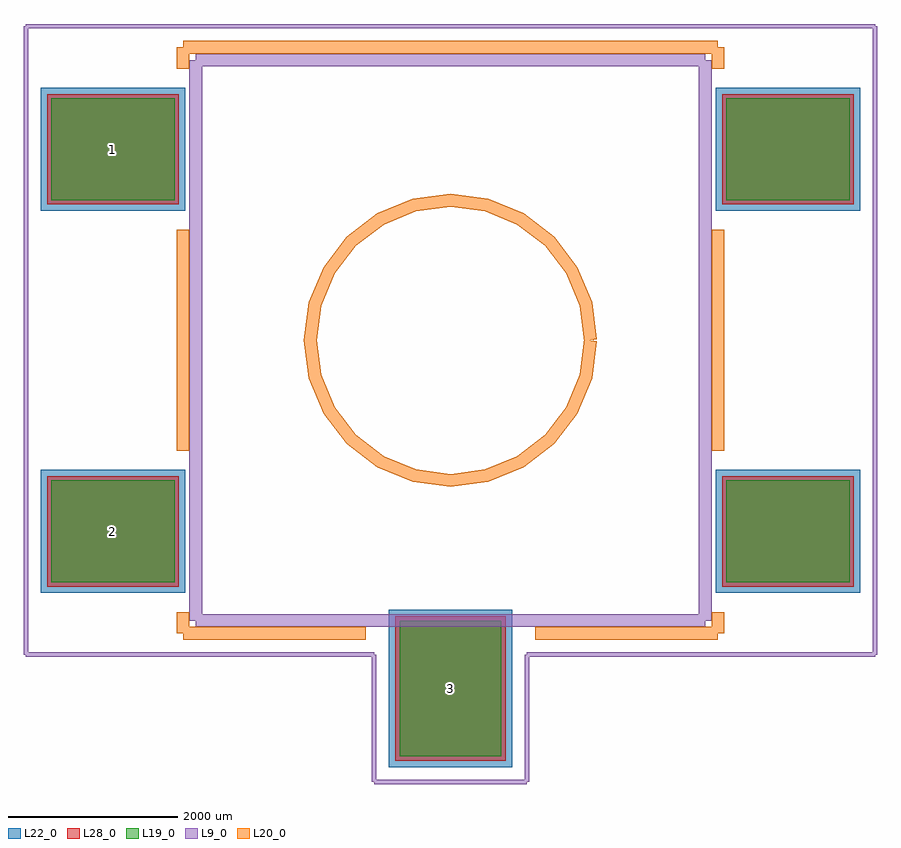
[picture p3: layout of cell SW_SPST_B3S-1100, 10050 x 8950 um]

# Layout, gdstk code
import gdstk
lib = gdstk.Library(unit=1e-6, precision=1e-09)
def R(c, l, rs):  # rectangles x0, y0, x1, y1
    for r in rs: c.add(gdstk.rectangle(r[:2], r[2:], *l))
L9_0 = (9, 0)
L19_0 = (19, 0)
L20_0 = (20, 0)
L22_0 = (22, 0)
L28_0 = (28, 0)

sw_spst_b3s_1100 = lib.new_cell('SW_SPST_B3S-1100')
R(sw_spst_b3s_1100, L19_0, [(-600,-4900,600,-3300), (-4700,-2850,-3250,-1650), (3250,-2850,4700,-1650), (-4700,1650,-3250,2850), (3250,1650,4700,2850)])
R(sw_spst_b3s_1100, L22_0, [(-725,-5025,725,-3175), (-4825,-2975,-3125,-1525), (3125,-2975,4825,-1525), (-4825,1525,-3125,2975), (3125,1525,4825,2975)])
R(sw_spst_b3s_1100, L28_0, [(-650,-4950,650,-3250), (-4750,-2900,-3200,-1600), (3200,-2900,4750,-1600), (-4750,1600,-3200,2900), (3200,1600,4750,2900)])
sw_spst_b3s_1100.add(gdstk.FlexPath([(-3000,-3300),(-3000,3300)], 149.998, ends="flush", simple_path=True, layer=9, datatype=0))  # L9_0
sw_spst_b3s_1100.add(gdstk.FlexPath([(3000,-3300),(-3000,-3300)], 149.998, ends="flush", simple_path=True, layer=9, datatype=0))  # L9_0
sw_spst_b3s_1100.add(gdstk.FlexPath([(3000,3300),(3000,-3300)], 149.998, ends="flush", simple_path=True, layer=9, datatype=0))  # L9_0
sw_spst_b3s_1100.add(gdstk.FlexPath([(-3000,3300),(3000,3300)], 149.998, ends="flush", simple_path=True, layer=9, datatype=0))  # L9_0
sw_spst_b3s_1100.add(gdstk.FlexPath([(1650,0),(1593.778,427.051),(1428.942,825),(1166.726,1166.726),(825,1428.942),(427.051,1593.778),(0,1650),(-427.051,1593.778),(-825,1428.942),(-1166.726,1166.726),(-1428.942,825),(-1593.778,427.051),(-1650,0),(-1593.778,-427.051),(-1428.942,-825),(-1166.726,-1166.726),(-825,-1428.942),(-427.051,-1593.778),(0,-1650),(427.051,-1593.778),(825,-1428.942),(1166.726,-1166.726),(1428.942,-825),(1593.778,-427.051),(1650,0)], 149.998, ends="flush", simple_path=True, layer=20, datatype=0))  # L20_0
sw_spst_b3s_1100.add(gdstk.FlexPath([(3150,1300),(3150,-1300)], 149.998, ends="flush", simple_path=True, layer=20, datatype=0))  # L20_0
sw_spst_b3s_1100.add(gdstk.FlexPath([(-3150,-3450),(-3150,-3200)], 149.998, ends="flush", simple_path=True, layer=20, datatype=0))  # L20_0
sw_spst_b3s_1100.add(gdstk.FlexPath([(3150,-3450),(1000,-3450)], 149.998, ends="flush", simple_path=True, layer=20, datatype=0))  # L20_0
sw_spst_b3s_1100.add(gdstk.FlexPath([(3150,-3200),(3150,-3450)], 149.998, ends="flush", simple_path=True, layer=20, datatype=0))  # L20_0
sw_spst_b3s_1100.add(gdstk.FlexPath([(-3150,-1300),(-3150,1300)], 149.998, ends="flush", simple_path=True, layer=20, datatype=0))  # L20_0
sw_spst_b3s_1100.add(gdstk.FlexPath([(3150,3450),(3150,3200)], 149.998, ends="flush", simple_path=True, layer=20, datatype=0))  # L20_0
sw_spst_b3s_1100.add(gdstk.FlexPath([(-3150,3450),(3150,3450)], 149.998, ends="flush", simple_path=True, layer=20, datatype=0))  # L20_0
sw_spst_b3s_1100.add(gdstk.FlexPath([(-3150,3200),(-3150,3450)], 149.998, ends="flush", simple_path=True, layer=20, datatype=0))  # L20_0
sw_spst_b3s_1100.add(gdstk.FlexPath([(-5000,3700),(-5000,-3700)], 50, ends="flush", simple_path=True, layer=9, datatype=0))  # L9_0
sw_spst_b3s_1100.add(gdstk.FlexPath([(5000,3700),(-5000,3700)], 50, ends="flush", simple_path=True, layer=9, datatype=0))  # L9_0
sw_spst_b3s_1100.add(gdstk.FlexPath([(5000,-3700),(5000,3700)], 50, ends="flush", simple_path=True, layer=9, datatype=0))  # L9_0
sw_spst_b3s_1100.add(gdstk.FlexPath([(-5000,-3700),(-900,-3700)], 50, ends="flush", simple_path=True, layer=9, datatype=0))  # L9_0
sw_spst_b3s_1100.add(gdstk.FlexPath([(-3150,-3450),(-1000,-3450)], 149.998, ends="flush", simple_path=True, layer=20, datatype=0))  # L20_0
sw_spst_b3s_1100.add(gdstk.FlexPath([(900,-5200),(900,-3700)], 50, ends="flush", simple_path=True, layer=9, datatype=0))  # L9_0
sw_spst_b3s_1100.add(gdstk.FlexPath([(-900,-5200),(900,-5200)], 50, ends="flush", simple_path=True, layer=9, datatype=0))  # L9_0
sw_spst_b3s_1100.add(gdstk.FlexPath([(-900,-3700),(-900,-5200)], 50, ends="flush", simple_path=True, layer=9, datatype=0))  # L9_0
sw_spst_b3s_1100.add(gdstk.FlexPath([(5000,-3700),(900,-3700)], 50, ends="flush", simple_path=True, layer=9, datatype=0))  # L9_0
sw_spst_b3s_1100.add(gdstk.Label('3', (0,-4100), layer=28, texttype=0))
sw_spst_b3s_1100.add(gdstk.Label('2', (-3975,-2250), layer=28, texttype=0))
sw_spst_b3s_1100.add(gdstk.Label('1', (-3975,2250), layer=28, texttype=0))
sw_spst_b3s_1100.add(gdstk.Label('type', (0,-6000), layer=9, texttype=0))
sw_spst_b3s_1100.add(gdstk.Label('devicename', (0,4500), layer=9, texttype=0))

lib.write_gds('SW_SPST_B3S-1100.gds')
